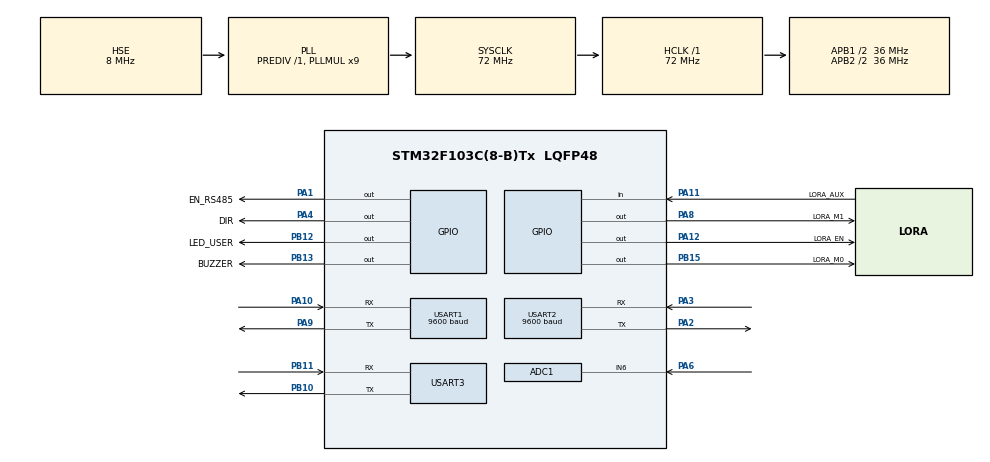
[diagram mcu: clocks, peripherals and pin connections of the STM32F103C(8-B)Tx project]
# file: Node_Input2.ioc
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ADC1.Channel-0\#ChannelRegularConversion=ADC_CHANNEL_6
ADC1.NbrOfConversionFlag=1
ADC1.Rank-0\#ChannelRegularConversion=1
ADC1.SamplingTime-0\#ChannelRegularConversion=ADC_SAMPLETIME_239CYCLES_5
ADC1.master=1
Mcu.Family=STM32F1
Mcu.Name=STM32F103C(8-B)Tx
Mcu.Package=LQFP48
NVIC.PriorityGroup=NVIC_PRIORITYGROUP_4
NVIC.TIM2_IRQn=true\:0\:0\:false\:false\:true\:true\:true\:true
NVIC.USART1_IRQn=true\:0\:0\:false\:false\:true\:true\:true\:true
NVIC.USART2_IRQn=true\:0\:0\:false\:false\:true\:true\:true\:true
NVIC.USART3_IRQn=true\:0\:0\:false\:false\:true\:true\:true\:true
PA1.GPIO_Label=EN_RS485
PA1.Signal=GPIO_Output
PA10.Mode=Asynchronous
PA10.Signal=USART1_RX
PA11.GPIO_Label=LORA_AUX
PA11.GPIO_PuPd=GPIO_PULLUP
PA11.Signal=GPIO_Input
PA12.GPIO_Label=LORA_EN
PA12.Signal=GPIO_Output
PA13.Mode=Serial_Wire
PA13.Signal=SYS_JTMS-SWDIO
PA14.Mode=Serial_Wire
PA14.Signal=SYS_JTCK-SWCLK
PA2.Mode=Asynchronous
PA2.Signal=USART2_TX
PA3.Mode=Asynchronous
PA3.Signal=USART2_RX
PA4.GPIO_Label=DIR
PA4.Signal=GPIO_Output
PA6.Signal=ADCx_IN6
PA8.GPIO_Label=LORA_M1
PA8.Signal=GPIO_Output
PA9.Mode=Asynchronous
PA9.Signal=USART1_TX
PB10.Mode=Asynchronous
PB10.Signal=USART3_TX
PB11.Mode=Asynchronous
PB11.Signal=USART3_RX
PB12.GPIO_Label=LED_USER
PB12.Signal=GPIO_Output
PB13.GPIO_Label=BUZZER
PB13.Signal=GPIO_Output
PB15.GPIO_Label=LORA_M0
PB15.Signal=GPIO_Output
PD0-OSC_IN.Mode=HSE-External-Oscillator
PD0-OSC_IN.Signal=RCC_OSC_IN
PD1-OSC_OUT.Mode=HSE-External-Oscillator
PD1-OSC_OUT.Signal=RCC_OSC_OUT
ProjectManager.HeapSize=0x200
ProjectManager.StackSize=0x400
ProjectManager.TargetToolchain=MDK-ARM V5.32
RCC.ADCPresc=RCC_ADCPCLK2_DIV4
RCC.AHBFreq_Value=72000000
RCC.APB1CLKDivider=RCC_HCLK_DIV2
RCC.APB1Freq_Value=36000000
RCC.APB1TimFreq_Value=72000000
RCC.APB2CLKDivider=RCC_HCLK_DIV2
RCC.APB2Freq_Value=36000000
RCC.APB2TimFreq_Value=72000000
RCC.HCLKFreq_Value=72000000
RCC.PLLMUL=RCC_PLL_MUL9
RCC.PLLSourceVirtual=RCC_PLLSOURCE_HSE
RCC.SYSCLKFreq_VALUE=72000000
RCC.SYSCLKSource=RCC_SYSCLKSOURCE_PLLCLK
RCC.USBFreq_Value=72000000
SH.ADCx_IN6.0=ADC1_IN6,IN6
TIM2.Period=4999
TIM2.Prescaler=7199
USART1.BaudRate=9600
USART1.VirtualMode=VM_ASYNC
USART2.BaudRate=9600
USART2.VirtualMode=VM_ASYNC
USART3.VirtualMode=VM_ASYNC
VP_ADC1_Vref_Input.Mode=IN-Vrefint
VP_TIM2_VS_ClockSourceINT.Mode=Internal
board=custom

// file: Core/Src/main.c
/* USER CODE BEGIN Header */
/**
  ******************************************************************************
  * @file           : main.c
  * @brief          : Main program body
  ******************************************************************************
  * @attention
  *
  * Copyright (c) 2026 STMicroelectronics.
  * All rights reserved.
  *
  * This software is licensed under terms that can be found in the LICENSE file
  * in the root directory of this software component.
  * If no LICENSE file comes with this software, it is provided AS-IS.
  *
  ******************************************************************************
  */
/* USER CODE END Header */
#include "main.h"

/* USER CODE BEGIN Includes */
#include <stdio.h>
#include "stdlib.h"
#include "stdbool.h"
#include <string.h>
/* USER CODE END Includes */

/* USER CODE BEGIN PTD */
// Struct data LoRa
typedef struct {
		uint8_t header;
    uint8_t nodeID;
		uint8_t len;
    int16_t temperature;
    int16_t humidity;
		uint8_t Vbat;
		uint16_t Sensor2[7];
		uint8_t status;
		uint16_t crc;
} __attribute__((packed)) MyData;
// Khoi tao Packet Tx LoRa
MyData TxPacket;
// Enum LoRa
typedef enum {
    LORA_OK,
    LORA_ERR_BUSY,
    LORA_ERR_UART,
} LoRa_Status_t;
// Enum Modbus RTU
typedef enum {
	MB_OK,
	MB_TIMEOUT,
	MB_ERR_ID,
	MB_ERR_FUNC,
	MB_ERR_LEN,
	MB_ERR_CRC,
	MB_ERR_BYTECOUNT,
} MB_Status_t;
MB_Status_t Status_SHT31;
MB_Status_t Status_NPK;
// enum state sensor
typedef enum {
	MB_STATE_IDLE,
	MB_STATE_SEND_SENSOR,
	MB_STATE_WAIT,
	MB_STATE_PROCESS,
} MB_state_t;
MB_state_t state1 = MB_STATE_IDLE;
MB_state_t state2 = MB_STATE_IDLE;
// enum state Lora
typedef enum {
    LORA_STATE_IDLE,
    LORA_STATE_SET_MODE,
    LORA_STATE_WAIT_SETMODE,
    LORA_STATE_SENDING,
		LORA_STATE_WAIT_TX,
} LoRa_State_t;
LoRa_State_t lora_state = LORA_STATE_IDLE;
/* USER CODE END PTD */
/* USER CODE BEGIN PD */
// define LoRa
// define config lora
#define LORA_FREQ_433MHZ 				0x17      // Kenh tan so 433Mhz, kenh thu 23
#define LORA_MODE_FIXED 				0xC4
#define LORA_GATEWAY_ADDR 			0x0000		// Addr dung de cau hinh cho node o che do Fixed
#define MY_LORA_ADDR 						0x0001		// ---
#define MY_LORA_ID        			0x01			// ID cho Frame data
// define mode lora
#define LORA_MODE_NORMAL 				0
#define LORA_MODE_WAKEUP  			1
#define LORA_MODE_SLEEP 				2         // Power saving
#define LORA_MODE_CONFIG 				3					// Che do de cau hinh hoac cung le che do sleep
// define Modbus
#define READ_HOLDING_REGISTER 	0x03
#define READ_INPUT_REGISTER   	0x04
// define sensor NPK
#define NPK_ID 	 								0x01
#define NPK_START_ADDR 					0x0000
#define NPK_QUANTIY_REG_READ 		0x0007
//define sensor SHT31
#define SHT31_ID 								0x02
#define SHT31_START_ADDR 				0x0000
#define SHT31_QUANTITY_REG_READ 0x0002
// define tick Schedule
#define READ_SHT31_INTERVAL 		60000 	//1M
#define READ_NPK_INTERVAL 			60000 	//1M
#define SEND_LORA_INTERVAL  		60000 	//1M
#define READ_BATTERY_INTERVAL 	300000 	//5M
#define CHECK_ERR_INTERVAL    	2000  	//2s
/* USER CODE END PD */

ADC_HandleTypeDef hadc1;

TIM_HandleTypeDef htim2;

UART_HandleTypeDef huart1;
UART_HandleTypeDef huart2;
UART_HandleTypeDef huart3;

/* USER CODE BEGIN PV */
// Modbus RTU
uint8_t TxBufferModbus[8];
uint8_t RxBufferModbus[128];
volatile uint16_t rx_len = 0;
volatile bool flag = false;
volatile bool mutex = true;
// Buffer Data Sensor
uint16_t RxSHT31[2];
uint16_t RxNPK[7];
// Battery
float battery_voltage = 0.0f;
uint16_t battery_mv = 0;
// count check
uint32_t cnt1 = 0;
uint32_t cnt2 = 0;
uint8_t sht31_err = 0;
uint8_t NPK_err = 0;
// Tick Schedule
uint32_t tick_SHT31 = 0;
uint32_t tick_NPK = 0;
uint32_t tick_LoRa =0;
uint32_t tick_Battery = 0;
uint32_t tick_CheckErr = 0;
// Timeout Schedule
uint32_t TimeoutSHT31 = 0;
uint32_t TimeoutNPK = 0;
uint32_t TimeoutLoRa = 0;
/* USER CODE END PV */

void SystemClock_Config(void);
static void MX_GPIO_Init(void);
static void MX_USART2_UART_Init(void);
static void MX_USART3_UART_Init(void);
static void MX_USART1_UART_Init(void);
static void MX_ADC1_Init(void);
static void MX_TIM2_Init(void);

/* USER CODE BEGIN 0 */
//************************************************************************************************************************
//****************************************************SHARED**************************************************************
//************************************************************************************************************************
// printf
//int fputc(int ch, FILE *f)
//{
//    HAL_UART_Transmit(&huart3, (uint8_t *)&ch, 1, 100);
//    return ch;
//}
// crc
uint16_t Modbus_CRC16(uint8_t *buf, int len) {
    uint16_t crc = 0xFFFF;
    for (int pos = 0; pos < len; pos++) {
        crc ^= (uint16_t)buf[pos];
        for (int i = 8; i != 0; i--) {
            if ((crc & 0x0001) != 0) {
                crc >>= 1;
                crc ^= 0xA001;
            } else {
                crc >>= 1;
            }
        }
    }
    return crc;
}
// timer
bool Is_Timer_Expired(uint32_t *lastTick, uint32_t interval) {
    uint32_t now = HAL_GetTick();
    if (now - *lastTick >= interval) {
        *lastTick += interval;
        return true;
    }
    return false;
}
// check Error
void CheckErr() {
		TxPacket.status = 0;
		if (sht31_err >3) {
			TxPacket.status |= 1<<0;
		}
		else {
			TxPacket.status &= ~(1<<0);
		}
		if (NPK_err >3) {
			TxPacket.status |=(1<<1);
		}
		else {
			TxPacket.status &=~(1<<1);
		}
}
//*********************************************************************************************************************
//**************************************************BUZZER***************************************************************
//*********************************************************************************************************************
void HAL_TIM_PeriodElapsedCallback(TIM_HandleTypeDef *htim)
{
    if (htim->Instance == TIM2)
    {
        static uint8_t buzzer_state = 0;
        if (TxPacket.status != 0) {
            buzzer_state = !buzzer_state;
        }
        else {
            buzzer_state = 0;
        }
        HAL_GPIO_WritePin(BUZZER_GPIO_Port, BUZZER_Pin, buzzer_state ? GPIO_PIN_SET : GPIO_PIN_RESET);
    }
}
//*********************************************************************************************************************
//**************************************************LORA***************************************************************
//*********************************************************************************************************************
// Ham set mode LoRa
LoRa_Status_t Lora_SetMode(uint8_t mode) {
    uint32_t timeout = HAL_GetTick();
    while(HAL_GPIO_ReadPin(LORA_AUX_GPIO_Port, LORA_AUX_Pin) == GPIO_PIN_RESET) {
        if (HAL_GetTick() - timeout > 1000) return LORA_ERR_BUSY;
    }
    switch (mode) {
        case 0: // NORMAL: M0=0, M1=0
            HAL_GPIO_WritePin(LORA_M0_GPIO_Port,LORA_M0_Pin, GPIO_PIN_RESET);
            HAL_GPIO_WritePin(LORA_M1_GPIO_Port, LORA_M1_Pin, GPIO_PIN_RESET);
            break;
        case 1: // WAKEUP: M0=1, M1=0
            HAL_GPIO_WritePin(LORA_M0_GPIO_Port, LORA_M0_Pin, GPIO_PIN_SET);
            HAL_GPIO_WritePin(LORA_M1_GPIO_Port, LORA_M1_Pin, GPIO_PIN_RESET);
            break;
        case 2: // SLEEP: M0=0, M1=1
            HAL_GPIO_WritePin(LORA_M0_GPIO_Port, LORA_M0_Pin, GPIO_PIN_RESET);
            HAL_GPIO_WritePin(LORA_M1_GPIO_Port, LORA_M1_Pin, GPIO_PIN_SET);
            break;
        case 3: // CONFIG: M0=1, M1=1
            HAL_GPIO_WritePin(LORA_M0_GPIO_Port, LORA_M0_Pin, GPIO_PIN_SET);
            HAL_GPIO_WritePin(LORA_M1_GPIO_Port, LORA_M1_Pin, GPIO_PIN_SET);
            break;
    }
    HAL_Delay(40);
    timeout = HAL_GetTick();
    while(HAL_GPIO_ReadPin(LORA_AUX_GPIO_Port, LORA_AUX_Pin) == GPIO_PIN_RESET) {
        if (HAL_GetTick() - timeout > 1000) return LORA_ERR_BUSY;
    }
		return LORA_OK;
}
// Ham config LoRa
LoRa_Status_t Lora_Config(UART_HandleTypeDef *huart, uint8_t addrH, uint8_t addrL, uint8_t chan) {
    Lora_SetMode(LORA_MODE_CONFIG); // config
		HAL_Delay(100);
    uint8_t config_cmd[6];
    config_cmd[0] = 0xC0;    // Ghi va luu vinh vien (Save to Flash)
    config_cmd[1] = addrH;   // Dia chi cao cua Node STM32
    config_cmd[2] = addrL;   // Dia chi thap cua Node STM32
    config_cmd[3] = 0x1A;    // 9600bps, 8N1, Air 2.4k voi 0x1A, neu air la 0.3 thi la 0x18
    config_cmd[4] = chan;    // Kenh tan so
		config_cmd[5] = LORA_MODE_FIXED;
    HAL_UART_Transmit(huart, config_cmd, 6, 100);
    HAL_Delay(100);
    uint32_t timeout = HAL_GetTick();
    while(HAL_GPIO_ReadPin(LORA_AUX_GPIO_Port, LORA_AUX_Pin) == GPIO_PIN_RESET) {
        if (HAL_GetTick() - timeout > 1000) return LORA_ERR_BUSY;
    }
    Lora_SetMode(LORA_MODE_NORMAL);
		return LORA_OK;
}
// Ham send data LoRa qua UART1, goi trong ham SendDataViaLoRa
LoRa_Status_t Lora_SendData(UART_HandleTypeDef *huart, uint8_t targetH, uint8_t targetL, uint8_t targetChan, MyData *data) {
    // Chuan bi data
    data->len = sizeof(MyData) - 5;   //  Tru di 5 byte cau hinh
    data->header = 0xAA;						 	//  Gan 1 so bat ky lam header, o day chon 0xAA
    data->nodeID = MY_LORA_ID; 						 	//  Gan 1 ID bat ky, o day chon 0x01 cho node Input
    data->crc = Modbus_CRC16((uint8_t*)data, sizeof(MyData) - 2);
//    // Wait AUX
//    uint32_t timeout = HAL_GetTick();
//    while(HAL_GPIO_ReadPin(LORA_AUX_GPIO_Port, LORA_AUX_Pin) == GPIO_PIN_RESET) {
//        if (HAL_GetTick() - timeout > 1000) return LORA_ERR_BUSY;
//    }
    // Gui dia chi Gateway va Channel
    uint8_t addr_header[3] = {targetH, targetL, targetChan};
    if (HAL_UART_Transmit(huart, addr_header, 3, 100) != HAL_OK) return LORA_ERR_UART;
    // Gui data
    if (HAL_UART_Transmit(huart, (uint8_t*)data, sizeof(MyData), 500) != HAL_OK) return LORA_ERR_UART;
//    // Wait AUX
//    timeout = HAL_GetTick();
//    while(HAL_GPIO_ReadPin(LORA_AUX_GPIO_Port, LORA_AUX_Pin) == GPIO_PIN_RESET) {
//        if (HAL_GetTick() - timeout > 1000) return LORA_ERR_BUSY;
//    }
    return LORA_OK;
}
// State Machine LoRa
void StateMachineLoRa() {
	switch (lora_state) {
		case LORA_STATE_IDLE:
			if (Is_Timer_Expired(&tick_LoRa, SEND_LORA_INTERVAL)) {
				Lora_SetMode(LORA_MODE_NORMAL);
				lora_state = LORA_STATE_SENDING;
			}
			break;
		 case LORA_STATE_SENDING:
        Lora_SendData(&huart1, (LORA_GATEWAY_ADDR>>8)&0xFF,(LORA_GATEWAY_ADDR&0xFF), LORA_FREQ_433MHZ, &TxPacket);
        TimeoutLoRa = HAL_GetTick();
        lora_state = LORA_STATE_WAIT_TX;
      break;
		 case LORA_STATE_WAIT_TX:
        if (HAL_GPIO_ReadPin(LORA_AUX_GPIO_Port, LORA_AUX_Pin) == GPIO_PIN_SET) {
            Lora_SetMode(LORA_MODE_CONFIG);  // dua ve ngu sau
            lora_state = LORA_STATE_IDLE;
         }
        else if (HAL_GetTick() - TimeoutLoRa > 300) {
					//timeout
					lora_state = LORA_STATE_IDLE;
        }
       break;
	}
}
//****************************************************************************************************************************
//*************************************************MODBUS*********************************************************************
//****************************************************************************************************************************
// send request
void ModbusSendRequest(uint8_t id, uint8_t function, uint16_t start_addr, uint16_t quantity) {
	TxBufferModbus[0] = id;
	TxBufferModbus[1] = function;
	TxBufferModbus[2] = (start_addr >>8) & 0xFF;
	TxBufferModbus[3] = start_addr & 0xFF;
	TxBufferModbus[4] = (quantity >>8) & 0xFF;
	TxBufferModbus[5] = quantity & 0xFF;
	uint16_t crc = Modbus_CRC16(TxBufferModbus,6);
	TxBufferModbus[6] = crc & 0xFF;
	TxBufferModbus[7] = (crc>>8) & 0xFF;
	HAL_GPIO_WritePin(DIR_GPIO_Port, DIR_Pin,GPIO_PIN_SET);
	HAL_UART_Transmit(&huart2,TxBufferModbus,8,900);
	while (__HAL_UART_GET_FLAG(&huart2, UART_FLAG_TC) == RESET);
  HAL_GPIO_WritePin(DIR_GPIO_Port, DIR_Pin, GPIO_PIN_RESET);
}
// callback Rx IDLE
void HAL_UARTEx_RxEventCallback(UART_HandleTypeDef *huart, uint16_t Size)
{
    if (huart->Instance == USART2)
    {
      rx_len = Size;
			flag = true;
			HAL_GPIO_TogglePin(LED_USER_GPIO_Port,LED_USER_Pin);
      HAL_UARTEx_ReceiveToIdle_IT(&huart2, RxBufferModbus, sizeof(RxBufferModbus));
    }
}
// Parse Response
MB_Status_t ModbusParseResponse(uint8_t *rxbuf, uint16_t rxlen, uint8_t id, uint8_t function, uint16_t *rxdatadest) {
	if ( rxlen < 5) return MB_ERR_LEN;
	uint8_t bytecount = rxbuf[2];
	uint16_t framelen = bytecount + 5;
	if ( rxlen != framelen) return MB_ERR_LEN;
	if ( rxbuf[0] != id || rxbuf[1] != function) return MB_ERR_ID;
	if (bytecount % 2 != 0) return MB_ERR_BYTECOUNT;
	// check CRC
	uint16_t CalCRC = Modbus_CRC16(rxbuf,framelen - 2);
	uint16_t RecCRC = rxbuf[framelen - 2] | (rxbuf[framelen - 1]<<8);
	if (CalCRC != RecCRC) return MB_ERR_CRC;
	// copy
	for (int i =0; i < bytecount /2; i++) {
			rxdatadest[i] = (rxbuf[3 + i * 2] << 8) | rxbuf[4 + i * 2];
	}
	return MB_OK;
}
// state machine sht31
void StateMachineSHT31() {
	switch (state1) {
		case MB_STATE_IDLE:
			if (Is_Timer_Expired(&tick_SHT31,READ_SHT31_INTERVAL) && mutex == true) {
				mutex = false;
				state1 = MB_STATE_SEND_SENSOR;
			}
			break;
		case MB_STATE_SEND_SENSOR:
			ModbusSendRequest(SHT31_ID,READ_HOLDING_REGISTER,SHT31_START_ADDR,SHT31_QUANTITY_REG_READ);
			TimeoutSHT31 = HAL_GetTick();
			state1 = MB_STATE_WAIT;
			break;
		case MB_STATE_WAIT:
			if (flag) {
				flag = false;
				state1 = MB_STATE_PROCESS;
			}
			else if ( HAL_GetTick() - TimeoutSHT31 > 250 ) {
				//timeout
				Status_SHT31 = MB_TIMEOUT;
				sht31_err++;
				mutex = true;
				state1 = MB_STATE_IDLE;
			}
			break;
		case MB_STATE_PROCESS:
				Status_SHT31 = ModbusParseResponse(RxBufferModbus,rx_len,SHT31_ID,READ_HOLDING_REGISTER,RxSHT31);
				if (Status_SHT31 == MB_OK) {
					cnt1++;
					sht31_err = 0;
					TxPacket.temperature = (int16_t)RxSHT31[0];
					TxPacket.humidity = (int16_t)RxSHT31[1];
				} else {
					sht31_err++;
				}
				mutex = true;
				rx_len = 0;
				state1 = MB_STATE_IDLE;
				break;
	}
}
// state machine NPK
void StateMachineNPK() {
	switch (state2) {
		case MB_STATE_IDLE:
			if (Is_Timer_Expired(&tick_NPK,READ_NPK_INTERVAL) && mutex == true) {
				mutex = false;
				state2 = MB_STATE_SEND_SENSOR;
			}
			break;
		case MB_STATE_SEND_SENSOR:
			ModbusSendRequest(NPK_ID,READ_HOLDING_REGISTER,NPK_START_ADDR,NPK_QUANTIY_REG_READ);
			TimeoutNPK = HAL_GetTick();
			state2 = MB_STATE_WAIT;
			break;
		case MB_STATE_WAIT:
			if (flag) {
				flag = false;
				state2 = MB_STATE_PROCESS;
			}
			else if ( HAL_GetTick() - TimeoutNPK > 300 ) {
				//timeout
				Status_NPK = MB_TIMEOUT;
				NPK_err++;
				mutex = true;
				state2 = MB_STATE_IDLE;
			}
			break;
		case MB_STATE_PROCESS:
					Status_NPK = ModbusParseResponse(RxBufferModbus,rx_len,NPK_ID,READ_HOLDING_REGISTER,RxNPK);
					if (Status_NPK == MB_OK) {
						cnt2++;
						NPK_err =0;
						for (int i = 0; i < 7; i++) {
							TxPacket.Sensor2[i] = RxNPK[i];
						}
					} else {
						NPK_err++;
					}
				mutex = true;
				rx_len = 0;
				state2 = MB_STATE_IDLE;
				break;
	}
}
//***********************************************************************************************************************
//******************************************************READ BATTERY*****************************************************
//***********************************************************************************************************************
// Ham doc ADC
uint32_t ADC_Read(uint32_t channel, uint8_t samples) {
    uint32_t sum = 0;
    ADC_ChannelConfTypeDef sConfig = {0};
    sConfig.Channel = channel;
    sConfig.Rank = 1;
    sConfig.SamplingTime = ADC_SAMPLETIME_239CYCLES_5;
    if (HAL_ADC_ConfigChannel(&hadc1, &sConfig) != HAL_OK) {
        Error_Handler();
    }
    // Lay mau trung binh
    for (uint8_t i = 0; i < samples; i++) {
        HAL_ADC_Start(&hadc1);
        if (HAL_ADC_PollForConversion(&hadc1, 10) == HAL_OK) {
            sum += HAL_ADC_GetValue(&hadc1);
        }
        HAL_ADC_Stop(&hadc1);
    }
    return (sum / samples);
}
// Ham tinh dung luong pin
uint8_t BatteryPercent(uint16_t voltage_mv)
{
    const uint16_t v[] = {4200,4100,4000,3900,3800,3700,3600,3500,3400,3300};
    const uint8_t  p[] = {100,90,80,70,60,50,40,30,20,0};
    int i;
    if (voltage_mv >= v[0]) return 100;
    if (voltage_mv <= v[9]) return 0;
    for (i = 0; i < 9; i++)
    {
        if (voltage_mv <= v[i] && voltage_mv > v[i+1])
        {
            return p[i+1] +
                   (voltage_mv - v[i+1]) * (p[i] - p[i+1]) /
                   (v[i] - v[i+1]);
        }
    }
    return 0;
}
// Ham doc phan tram pin
void ReadBattery(void) {
    //  �oc tong 16 lan
    uint32_t adc_raw_sum = ADC_Read(ADC_CHANNEL_6, 16);
    uint32_t vref_raw_sum = ADC_Read(ADC_CHANNEL_VREFINT, 16);
    if (vref_raw_sum > 0) {
        // Tinh trung binh
        float adc_avg = (float)adc_raw_sum;
        float vref_avg = (float)vref_raw_sum;
        float vdd_actual = (1.2f * 4095.0f) / vref_avg;
        //Tinh dien ap Pin thuc te
        battery_voltage = (adc_avg * vdd_actual / 4095.0f) * 2.0f;
        battery_mv = (uint16_t)(battery_voltage * 1000.0f);
        TxPacket.Vbat = BatteryPercent(battery_mv);
    }
}
/* USER CODE END 0 */

int main(void)
{

  /* MCU Configuration--------------------------------------------------------*/

  /* Reset of all peripherals, Initializes the Flash interface and the Systick. */
  HAL_Init();

  /* Configure the system clock */
  SystemClock_Config();

  /* Initialize all configured peripherals */
  MX_GPIO_Init();
  MX_USART2_UART_Init();
  MX_USART3_UART_Init();
  MX_USART1_UART_Init();
  MX_ADC1_Init();
  MX_TIM2_Init();
  /* USER CODE BEGIN 2 */
	// Enable IC SP485
	HAL_GPIO_WritePin(EN_RS485_GPIO_Port,EN_RS485_Pin, GPIO_PIN_SET);
	// Enable DIR ban dau
	HAL_GPIO_WritePin(DIR_GPIO_Port,DIR_Pin,GPIO_PIN_RESET);
	// Enable LoRa, vi se su dung che do tiet kiem pin
	HAL_GPIO_WritePin(LORA_EN_GPIO_Port,LORA_EN_Pin,GPIO_PIN_SET);
	// Config LoRa
	Lora_Config(&huart1, (MY_LORA_ADDR >> 8) & 0xFF, (MY_LORA_ADDR & 0xFF), LORA_FREQ_433MHZ);
	// Enable Rx IDLE UART2
	HAL_UARTEx_ReceiveToIdle_IT(&huart2, RxBufferModbus,sizeof(RxBufferModbus));
	// Enable TIM2, dung de lam coi bao dong
	HAL_TIM_Base_Start_IT(&htim2);
	// Set TxPacket ve 0 ban dau
	memset(&TxPacket, 0, sizeof(TxPacket));
	// Khoi tao tick tac vu, va cho chay lan dau
	tick_SHT31 = HAL_GetTick() - (READ_SHT31_INTERVAL - 1000);
	tick_NPK = HAL_GetTick() - (READ_NPK_INTERVAL - 2000);
	tick_Battery = HAL_GetTick() - (READ_BATTERY_INTERVAL - 3000);
	tick_LoRa = HAL_GetTick() -(SEND_LORA_INTERVAL - 5000);
	tick_CheckErr = HAL_GetTick();
  /* USER CODE END 2 */

  /* Infinite loop */
  /* USER CODE BEGIN WHILE */
  while (1)
  {
		StateMachineSHT31();
		StateMachineNPK();
		StateMachineLoRa();
		if (Is_Timer_Expired(&tick_Battery,READ_BATTERY_INTERVAL)) {
			ReadBattery();
		}
		if (Is_Timer_Expired(&tick_CheckErr,CHECK_ERR_INTERVAL)) {
			//CheckErr();
		}
//		if ( Is_Timer_Expired(&tick_LoRa,10000)) {
//				Lora_SendData(&huart1, (LORA_GATEWAY_ADDR>>8)&0xFF,(LORA_GATEWAY_ADDR&0xFF), LORA_FREQ_433MHZ, &TxPacket);
//		}

//					if (Is_Timer_Expired(&tick1,3000)) {
//						// sht20
//						ModbusSendRequest(0x01,0x04,0x0001,0x0002);
//					}
//					if (Is_Timer_Expired(&tick2,3000)) {
//						// sht31
//						ModbusSendRequest(0x02,0x03,0x0000,0x0007);
//					}
//		if (flag) {
//				if (RxBuffer[0] == 0x01) {
//					cnt1++;
//					ModbusParseResponse(RxBuffer,0x04,0x01,0x04,RxData1);
//					HAL_Delay(20);
//				}
//
//					if (RxBuffer[0] == 0x02) {
//					cnt2++;
//					// stm32f1
//					ModbusParseResponse(RxBuffer,0x0E,0x02,0x03,RxData2);
//					HAL_Delay(20);
//				}
//				rx_len = 0;
//				flag = false;
//		}

    /* USER CODE END WHILE */

  }
}

void SystemClock_Config(void)
{
  RCC_OscInitTypeDef RCC_OscInitStruct = {0};
  RCC_ClkInitTypeDef RCC_ClkInitStruct = {0};
  RCC_PeriphCLKInitTypeDef PeriphClkInit = {0};

  /** Initializes the RCC Oscillators according to the specified parameters
  * in the RCC_OscInitTypeDef structure.
  */
  RCC_OscInitStruct.OscillatorType = RCC_OSCILLATORTYPE_HSE;
  RCC_OscInitStruct.HSEState = RCC_HSE_ON;
  RCC_OscInitStruct.HSEPredivValue = RCC_HSE_PREDIV_DIV1;
  RCC_OscInitStruct.HSIState = RCC_HSI_ON;
  RCC_OscInitStruct.PLL.PLLState = RCC_PLL_ON;
  RCC_OscInitStruct.PLL.PLLSource = RCC_PLLSOURCE_HSE;
  RCC_OscInitStruct.PLL.PLLMUL = RCC_PLL_MUL9;
  if (HAL_RCC_OscConfig(&RCC_OscInitStruct) != HAL_OK)
  {
    Error_Handler();
  }

  /** Initializes the CPU, AHB and APB buses clocks
  */
  RCC_ClkInitStruct.ClockType = RCC_CLOCKTYPE_HCLK|RCC_CLOCKTYPE_SYSCLK
                              |RCC_CLOCKTYPE_PCLK1|RCC_CLOCKTYPE_PCLK2;
  RCC_ClkInitStruct.SYSCLKSource = RCC_SYSCLKSOURCE_PLLCLK;
  RCC_ClkInitStruct.AHBCLKDivider = RCC_SYSCLK_DIV1;
  RCC_ClkInitStruct.APB1CLKDivider = RCC_HCLK_DIV2;
  RCC_ClkInitStruct.APB2CLKDivider = RCC_HCLK_DIV2;

  if (HAL_RCC_ClockConfig(&RCC_ClkInitStruct, FLASH_LATENCY_2) != HAL_OK)
  {
    Error_Handler();
  }
  PeriphClkInit.PeriphClockSelection = RCC_PERIPHCLK_ADC;
  PeriphClkInit.AdcClockSelection = RCC_ADCPCLK2_DIV4;
  if (HAL_RCCEx_PeriphCLKConfig(&PeriphClkInit) != HAL_OK)
  {
    Error_Handler();
  }
}

static void MX_ADC1_Init(void)
{

  ADC_ChannelConfTypeDef sConfig = {0};

  /** Common config
  */
  hadc1.Instance = ADC1;
  hadc1.Init.ScanConvMode = ADC_SCAN_DISABLE;
  hadc1.Init.ContinuousConvMode = DISABLE;
  hadc1.Init.DiscontinuousConvMode = DISABLE;
  hadc1.Init.ExternalTrigConv = ADC_SOFTWARE_START;
  hadc1.Init.DataAlign = ADC_DATAALIGN_RIGHT;
  hadc1.Init.NbrOfConversion = 1;
  if (HAL_ADC_Init(&hadc1) != HAL_OK)
  {
    Error_Handler();
  }

  /** Configure Regular Channel
  */
  sConfig.Channel = ADC_CHANNEL_6;
  sConfig.Rank = ADC_REGULAR_RANK_1;
  sConfig.SamplingTime = ADC_SAMPLETIME_239CYCLES_5;
  if (HAL_ADC_ConfigChannel(&hadc1, &sConfig) != HAL_OK)
  {
    Error_Handler();
  }

}

static void MX_TIM2_Init(void)
{

  TIM_ClockConfigTypeDef sClockSourceConfig = {0};
  TIM_MasterConfigTypeDef sMasterConfig = {0};

  htim2.Instance = TIM2;
  htim2.Init.Prescaler = 7199;
  htim2.Init.CounterMode = TIM_COUNTERMODE_UP;
  htim2.Init.Period = 4999;
  htim2.Init.ClockDivision = TIM_CLOCKDIVISION_DIV1;
  htim2.Init.AutoReloadPreload = TIM_AUTORELOAD_PRELOAD_DISABLE;
  if (HAL_TIM_Base_Init(&htim2) != HAL_OK)
  {
    Error_Handler();
  }
  sClockSourceConfig.ClockSource = TIM_CLOCKSOURCE_INTERNAL;
  if (HAL_TIM_ConfigClockSource(&htim2, &sClockSourceConfig) != HAL_OK)
  {
    Error_Handler();
  }
  sMasterConfig.MasterOutputTrigger = TIM_TRGO_RESET;
  sMasterConfig.MasterSlaveMode = TIM_MASTERSLAVEMODE_DISABLE;
  if (HAL_TIMEx_MasterConfigSynchronization(&htim2, &sMasterConfig) != HAL_OK)
  {
    Error_Handler();
  }

}

static void MX_USART1_UART_Init(void)
{

  huart1.Instance = USART1;
  huart1.Init.BaudRate = 9600;
  huart1.Init.WordLength = UART_WORDLENGTH_8B;
  huart1.Init.StopBits = UART_STOPBITS_1;
  huart1.Init.Parity = UART_PARITY_NONE;
  huart1.Init.Mode = UART_MODE_TX_RX;
  huart1.Init.HwFlowCtl = UART_HWCONTROL_NONE;
  huart1.Init.OverSampling = UART_OVERSAMPLING_16;
  if (HAL_UART_Init(&huart1) != HAL_OK)
  {
    Error_Handler();
  }

}

static void MX_USART2_UART_Init(void)
{

  huart2.Instance = USART2;
  huart2.Init.BaudRate = 9600;
  huart2.Init.WordLength = UART_WORDLENGTH_8B;
  huart2.Init.StopBits = UART_STOPBITS_1;
  huart2.Init.Parity = UART_PARITY_NONE;
  huart2.Init.Mode = UART_MODE_TX_RX;
  huart2.Init.HwFlowCtl = UART_HWCONTROL_NONE;
  huart2.Init.OverSampling = UART_OVERSAMPLING_16;
  if (HAL_UART_Init(&huart2) != HAL_OK)
  {
    Error_Handler();
  }

}

static void MX_USART3_UART_Init(void)
{

  huart3.Instance = USART3;
  huart3.Init.BaudRate = 115200;
  huart3.Init.WordLength = UART_WORDLENGTH_8B;
  huart3.Init.StopBits = UART_STOPBITS_1;
  huart3.Init.Parity = UART_PARITY_NONE;
  huart3.Init.Mode = UART_MODE_TX_RX;
  huart3.Init.HwFlowCtl = UART_HWCONTROL_NONE;
  huart3.Init.OverSampling = UART_OVERSAMPLING_16;
  if (HAL_UART_Init(&huart3) != HAL_OK)
  {
    Error_Handler();
  }

}

static void MX_GPIO_Init(void)
{
  GPIO_InitTypeDef GPIO_InitStruct = {0};

  /* GPIO Ports Clock Enable */
  __HAL_RCC_GPIOD_CLK_ENABLE();
  __HAL_RCC_GPIOA_CLK_ENABLE();
  __HAL_RCC_GPIOB_CLK_ENABLE();

  /*Configure GPIO pin Output Level */
  HAL_GPIO_WritePin(GPIOA, EN_RS485_Pin|DIR_Pin|LORA_M1_Pin|LORA_EN_Pin, GPIO_PIN_RESET);

  /*Configure GPIO pin Output Level */
  HAL_GPIO_WritePin(GPIOB, LED_USER_Pin|BUZZER_Pin|LORA_M0_Pin, GPIO_PIN_RESET);

  /*Configure GPIO pins : EN_RS485_Pin DIR_Pin LORA_M1_Pin LORA_EN_Pin */
  GPIO_InitStruct.Pin = EN_RS485_Pin|DIR_Pin|LORA_M1_Pin|LORA_EN_Pin;
  GPIO_InitStruct.Mode = GPIO_MODE_OUTPUT_PP;
  GPIO_InitStruct.Pull = GPIO_NOPULL;
  GPIO_InitStruct.Speed = GPIO_SPEED_FREQ_LOW;
  HAL_GPIO_Init(GPIOA, &GPIO_InitStruct);

  /*Configure GPIO pins : LED_USER_Pin BUZZER_Pin LORA_M0_Pin */
  GPIO_InitStruct.Pin = LED_USER_Pin|BUZZER_Pin|LORA_M0_Pin;
  GPIO_InitStruct.Mode = GPIO_MODE_OUTPUT_PP;
  GPIO_InitStruct.Pull = GPIO_NOPULL;
  GPIO_InitStruct.Speed = GPIO_SPEED_FREQ_LOW;
  HAL_GPIO_Init(GPIOB, &GPIO_InitStruct);

  /*Configure GPIO pin : LORA_AUX_Pin */
  GPIO_InitStruct.Pin = LORA_AUX_Pin;
  GPIO_InitStruct.Mode = GPIO_MODE_INPUT;
  GPIO_InitStruct.Pull = GPIO_PULLUP;
  HAL_GPIO_Init(LORA_AUX_GPIO_Port, &GPIO_InitStruct);

}

void Error_Handler(void)
{
  __disable_irq();
  while (1)
  {
  }
}
